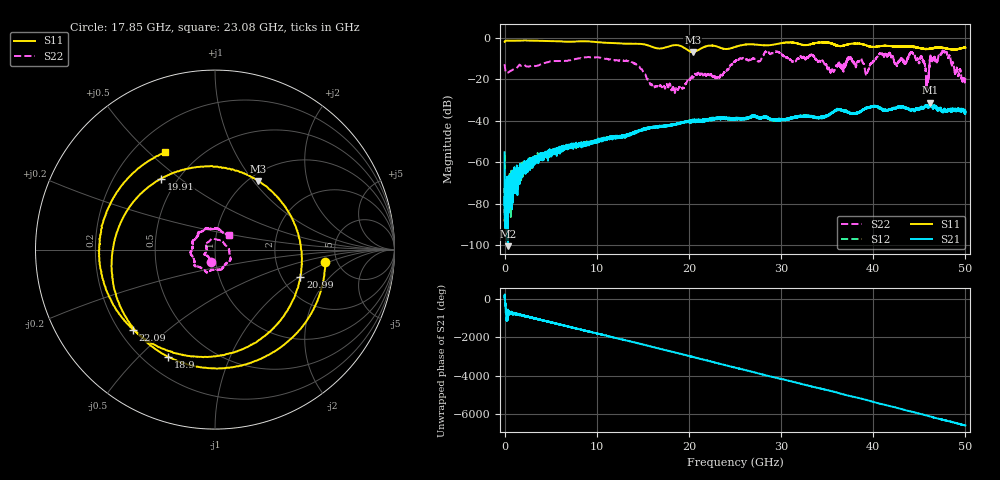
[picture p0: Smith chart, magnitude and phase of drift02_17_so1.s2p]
!Created with skrf (http://scikit-rf.org).
# Hz S RI R 50.0
!freq ReS11 ImS11 ReS21 ImS21 ReS12 ImS12 ReS22 ImS22
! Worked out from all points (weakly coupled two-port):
!   10001 points, 300 kHz to 50 GHz, reference 50 ohm
!   highest |S21| = -31.31 dB at 46.21 GHz (marker M1); lowest = -100.4 dB at 350.3 MHz (marker M2)
!   lowest |S11| = -6.9 dB at 20.41 GHz (marker M3), VSWR 2.64, Z = 54.8 + j52.6 ohm
!   |S11| at or under -10 dB: nowhere
!   |S22| runs from -26.7 to -6.2 dB; largest |S21 - S12| = 0.0034
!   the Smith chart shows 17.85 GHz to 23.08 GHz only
!   S11 on the Smith chart (normalised r, x): 17.85 GHz: 4.02, -0.91; 18.9 GHz: 0.30, -0.62; 19.91 GHz: 0.41, +0.43; 20.99 GHz: 2.51, -1.03; 22.09 GHz: 0.26, -0.38; 23.08 GHz: 0.32, +0.56
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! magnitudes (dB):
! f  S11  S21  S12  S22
! 300 kHz  -2.0  -55.2  -56.2  -12.7
! 350.3 MHz  -1.4  -100.4  -73.5  -16.9
! 2.91 GHz  -1.4  -62.5  -61.0  -13.6
! 8.335 GHz  -1.7  -51.0  -51.8  -9.7
! 13.71 GHz  -3.0  -46.7  -46.3  -11.6
! 16.67 GHz  -5.2  -42.9  -42.9  -23.5
! 17.85 GHz  -4.2  -42.1  -42.3  -23.0
! 18.9 GHz  -3.7  -41.1  -41.3  -24.2
! 19.91 GHz  -6.1  -40.4  -40.4  -19.8
! 20.41 GHz  -6.9  -39.4  -40.2  -19.1
! 20.99 GHz  -6.0  -40.0  -40.3  -16.7
! 22.09 GHz  -3.9  -39.5  -39.7  -17.8
! 23.08 GHz  -4.3  -38.4  -38.7  -19.1
! 25 GHz  -4.5  -38.7  -38.8  -11.5
! 33.34 GHz  -3.1  -37.9  -38.2  -8.4
! 39.31 GHz  -3.8  -33.9  -33.8  -17.2
! 41.67 GHz  -4.0  -34.8  -34.6  -7.9
! 44.25 GHz  -4.4  -34.7  -34.5  -7.3
! 45.86 GHz  -5.4  -33.2  -32.9  -19.6
! 46.21 GHz  -5.4  -31.3  -31.8  -8.5
! 47.76 GHz  -5.0  -34.6  -34.8  -6.8
! 50 GHz  -4.8  -35.8  -35.8  -19.4
